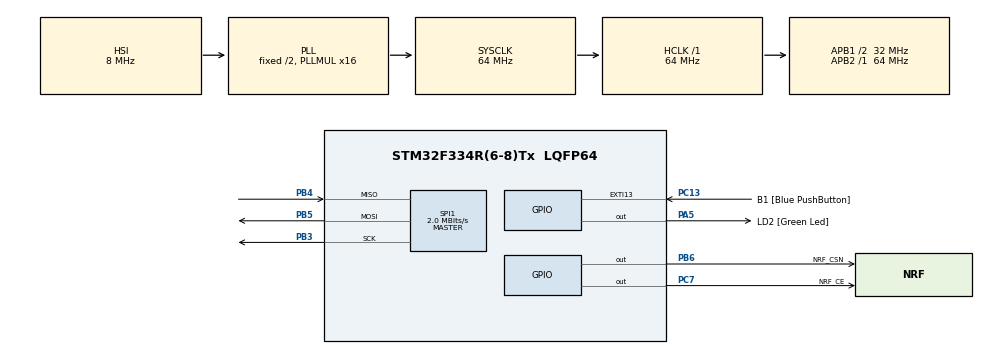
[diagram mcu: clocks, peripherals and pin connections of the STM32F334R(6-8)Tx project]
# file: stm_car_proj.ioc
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Mcu.Family=STM32F3
Mcu.Name=STM32F334R(6-8)Tx
Mcu.Package=LQFP64
NVIC.PriorityGroup=NVIC_PRIORITYGROUP_0
PA13.GPIO_Label=TMS
PA13.Mode=Serial_Wire
PA13.Signal=SYS_JTMS-SWDIO
PA14.GPIO_Label=TCK
PA14.Mode=Serial_Wire
PA14.Signal=SYS_JTCK-SWCLK
PA2.GPIO_Label=USART_TX
PA2.Signal=USART2_TX
PA3.GPIO_Label=USART_RX
PA3.Signal=USART2_RX
PA5.GPIO_Label=LD2 [Green Led]
PA5.Signal=GPIO_Output
PB3.Mode=Full_Duplex_Master
PB3.Signal=SPI1_SCK
PB4.Mode=Full_Duplex_Master
PB4.Signal=SPI1_MISO
PB5.Mode=Full_Duplex_Master
PB5.Signal=SPI1_MOSI
PB6.GPIO_Label=NRF_CSN
PB6.GPIO_Speed=GPIO_SPEED_FREQ_HIGH
PB6.PinState=GPIO_PIN_SET
PB6.Signal=GPIO_Output
PC13.GPIO_Label=B1 [Blue PushButton]
PC13.GPIO_ModeDefaultEXTI=GPIO_MODE_IT_FALLING
PC13.Signal=GPXTI13
PC14\ /\ OSC32_IN.Mode=LSE-External-Oscillator
PC14\ /\ OSC32_IN.Signal=RCC_OSC32_IN
PC15\ /\ OSC32_OUT.GPIO_Label=RCC_OSC32_OUT
PC15\ /\ OSC32_OUT.Mode=LSE-External-Oscillator
PC15\ /\ OSC32_OUT.Signal=RCC_OSC32_OUT
PC7.GPIO_Label=NRF_CE
PC7.GPIO_Speed=GPIO_SPEED_FREQ_HIGH
PC7.PinState=GPIO_PIN_RESET
PC7.Signal=GPIO_Output
PF0\ /\ OSC_IN.Mode=HSE-External-Clock-Source
PF0\ /\ OSC_IN.Signal=RCC_OSC_IN
PF1\ /\ OSC_OUT.Signal=RCC_OSC_OUT
ProjectManager.HeapSize=0x200
ProjectManager.StackSize=0x400
ProjectManager.TargetToolchain=STM32CubeIDE
RCC.AHBFreq_Value=64000000
RCC.APB1CLKDivider=RCC_HCLK_DIV2
RCC.APB1Freq_Value=32000000
RCC.APB1TimFreq_Value=64000000
RCC.APB2Freq_Value=64000000
RCC.APB2TimFreq_Value=64000000
RCC.CortexFreq_Value=64000000
RCC.FLatency-AdvancedSettings=FLASH_LATENCY_2
RCC.HCLKFreq_Value=64000000
RCC.HSE_VALUE=8000000
RCC.HSI_VALUE=8000000
RCC.PLLMUL=RCC_PLL_MUL16
RCC.SYSCLKFreq_VALUE=64000000
RCC.SYSCLKSourceVirtual=RCC_SYSCLKSOURCE_PLLCLK
SPI1.BaudRatePrescaler=SPI_BAUDRATEPRESCALER_32
SPI1.CalculateBaudRate=2.0 MBits/s
SPI1.DataSize=SPI_DATASIZE_8BIT
SPI1.Direction=SPI_DIRECTION_2LINES
SPI1.Mode=SPI_MODE_MASTER
SPI1.NSSPMode=SPI_NSS_PULSE_DISABLE
SPI1.VirtualType=VM_MASTER
board=NUCLEO-F334R8

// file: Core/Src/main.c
/* USER CODE BEGIN Header */
/**
  ******************************************************************************
  * @file           : main.c
  * @brief          : Main program body
  ******************************************************************************
  * @attention
  *
  * Copyright (c) 2026 STMicroelectronics.
  * All rights reserved.
  *
  * This software is licensed under terms that can be found in the LICENSE file
  * in the root directory of this software component.
  * If no LICENSE file comes with this software, it is provided AS-IS.
  *
  ******************************************************************************
  */
/* USER CODE END Header */
#include "main.h"

/* USER CODE BEGIN Includes */
#include "nrf24l01.h"
/* USER CODE END Includes */

/* USER CODE BEGIN PD */
/* Must match the Arduino sketch (RF24): openWritingPipe("JOY01"), setChannel(76) */
#define RADIO_ADDR      ((const uint8_t *)"JOY01")
#define RADIO_CHANNEL   76
#define EXPECTED_BYTE   0x45    /* first payload byte that turns LD2 on */
/* USER CODE END PD */

SPI_HandleTypeDef hspi1;

/* USER CODE BEGIN PV */
/* Globals so they can be watched in CubeIDE Live Expressions while debugging */
nrf24_status_t init_status;
uint32_t       rx_count;
uint8_t        last_buf[32];
/* USER CODE END PV */

void SystemClock_Config(void);
static void MX_GPIO_Init(void);
static void MX_SPI1_Init(void);

int main(void)
{

  /* MCU Configuration--------------------------------------------------------*/

  /* Reset of all peripherals, Initializes the Flash interface and the Systick. */
  HAL_Init();

  /* Configure the system clock */
  SystemClock_Config();

  /* Initialize all configured peripherals */
  MX_GPIO_Init();
  MX_SPI1_Init();
  /* USER CODE BEGIN 2 */
  /* Defaults match RF24 radio.begin(); override what the sketch overrides. */
  nrf24_config_t cfg = NRF24_CONFIG_RF24_DEFAULTS;
  cfg.channel   = RADIO_CHANNEL;
  cfg.data_rate = NRF24_250KBPS;
  cfg.pa_level  = NRF24_PA_LOW;

  init_status = nrf24_init(&cfg);
  if (init_status != NRF24_OK)
  {
    /* Radio not responding (wiring/power) or not a '+' chip: fast blink forever */
    while (1)
    {
      HAL_GPIO_TogglePin(LD2_GPIO_Port, LD2_Pin);
      HAL_Delay(100);
    }
  }

  nrf24_open_reading_pipe(1, RADIO_ADDR);
  nrf24_start_listening();
  /* USER CODE END 2 */

  /* Infinite loop */
  while (1)
  {

    /* USER CODE BEGIN 3 */
    if (nrf24_available(NULL))
    {
      nrf24_read(last_buf, sizeof last_buf);
      rx_count++;
      HAL_GPIO_WritePin(LD2_GPIO_Port, LD2_Pin,
                        (last_buf[0] == EXPECTED_BYTE) ? GPIO_PIN_SET : GPIO_PIN_RESET);
    }
  }
  /* USER CODE END 3 */
}

void SystemClock_Config(void)
{
  RCC_OscInitTypeDef RCC_OscInitStruct = {0};
  RCC_ClkInitTypeDef RCC_ClkInitStruct = {0};

  /** Initializes the RCC Oscillators according to the specified parameters
  * in the RCC_OscInitTypeDef structure.
  */
  RCC_OscInitStruct.OscillatorType = RCC_OSCILLATORTYPE_HSI;
  RCC_OscInitStruct.HSIState = RCC_HSI_ON;
  RCC_OscInitStruct.HSICalibrationValue = RCC_HSICALIBRATION_DEFAULT;
  RCC_OscInitStruct.PLL.PLLState = RCC_PLL_ON;
  RCC_OscInitStruct.PLL.PLLSource = RCC_PLLSOURCE_HSI;
  RCC_OscInitStruct.PLL.PLLMUL = RCC_PLL_MUL16;
  if (HAL_RCC_OscConfig(&RCC_OscInitStruct) != HAL_OK)
  {
    Error_Handler();
  }

  /** Initializes the CPU, AHB and APB buses clocks
  */
  RCC_ClkInitStruct.ClockType = RCC_CLOCKTYPE_HCLK|RCC_CLOCKTYPE_SYSCLK
                              |RCC_CLOCKTYPE_PCLK1|RCC_CLOCKTYPE_PCLK2;
  RCC_ClkInitStruct.SYSCLKSource = RCC_SYSCLKSOURCE_PLLCLK;
  RCC_ClkInitStruct.AHBCLKDivider = RCC_SYSCLK_DIV1;
  RCC_ClkInitStruct.APB1CLKDivider = RCC_HCLK_DIV2;
  RCC_ClkInitStruct.APB2CLKDivider = RCC_HCLK_DIV1;

  if (HAL_RCC_ClockConfig(&RCC_ClkInitStruct, FLASH_LATENCY_2) != HAL_OK)
  {
    Error_Handler();
  }
}

static void MX_SPI1_Init(void)
{

  /* SPI1 parameter configuration*/
  hspi1.Instance = SPI1;
  hspi1.Init.Mode = SPI_MODE_MASTER;
  hspi1.Init.Direction = SPI_DIRECTION_2LINES;
  hspi1.Init.DataSize = SPI_DATASIZE_8BIT;
  hspi1.Init.CLKPolarity = SPI_POLARITY_LOW;
  hspi1.Init.CLKPhase = SPI_PHASE_1EDGE;
  hspi1.Init.NSS = SPI_NSS_SOFT;
  hspi1.Init.BaudRatePrescaler = SPI_BAUDRATEPRESCALER_32;
  hspi1.Init.FirstBit = SPI_FIRSTBIT_MSB;
  hspi1.Init.TIMode = SPI_TIMODE_DISABLE;
  hspi1.Init.CRCCalculation = SPI_CRCCALCULATION_DISABLE;
  hspi1.Init.CRCPolynomial = 7;
  hspi1.Init.CRCLength = SPI_CRC_LENGTH_DATASIZE;
  hspi1.Init.NSSPMode = SPI_NSS_PULSE_DISABLE;
  if (HAL_SPI_Init(&hspi1) != HAL_OK)
  {
    Error_Handler();
  }

}

static void MX_GPIO_Init(void)
{
  GPIO_InitTypeDef GPIO_InitStruct = {0};

  /* GPIO Ports Clock Enable */
  __HAL_RCC_GPIOC_CLK_ENABLE();
  __HAL_RCC_GPIOF_CLK_ENABLE();
  __HAL_RCC_GPIOA_CLK_ENABLE();
  __HAL_RCC_GPIOB_CLK_ENABLE();

  /*Configure GPIO pin Output Level */
  HAL_GPIO_WritePin(LD2_GPIO_Port, LD2_Pin, GPIO_PIN_RESET);

  /*Configure GPIO pin Output Level */
  HAL_GPIO_WritePin(NRF_CE_GPIO_Port, NRF_CE_Pin, GPIO_PIN_RESET);

  /*Configure GPIO pin Output Level */
  HAL_GPIO_WritePin(NRF_CSN_GPIO_Port, NRF_CSN_Pin, GPIO_PIN_SET);

  /*Configure GPIO pin : B1_Pin */
  GPIO_InitStruct.Pin = B1_Pin;
  GPIO_InitStruct.Mode = GPIO_MODE_IT_FALLING;
  GPIO_InitStruct.Pull = GPIO_NOPULL;
  HAL_GPIO_Init(B1_GPIO_Port, &GPIO_InitStruct);

  /*Configure GPIO pins : USART_TX_Pin USART_RX_Pin */
  GPIO_InitStruct.Pin = USART_TX_Pin|USART_RX_Pin;
  GPIO_InitStruct.Mode = GPIO_MODE_AF_PP;
  GPIO_InitStruct.Pull = GPIO_NOPULL;
  GPIO_InitStruct.Speed = GPIO_SPEED_FREQ_HIGH;
  GPIO_InitStruct.Alternate = GPIO_AF7_USART2;
  HAL_GPIO_Init(GPIOA, &GPIO_InitStruct);

  /*Configure GPIO pin : LD2_Pin */
  GPIO_InitStruct.Pin = LD2_Pin;
  GPIO_InitStruct.Mode = GPIO_MODE_OUTPUT_PP;
  GPIO_InitStruct.Pull = GPIO_NOPULL;
  GPIO_InitStruct.Speed = GPIO_SPEED_FREQ_LOW;
  HAL_GPIO_Init(LD2_GPIO_Port, &GPIO_InitStruct);

  /*Configure GPIO pin : NRF_CE_Pin */
  GPIO_InitStruct.Pin = NRF_CE_Pin;
  GPIO_InitStruct.Mode = GPIO_MODE_OUTPUT_PP;
  GPIO_InitStruct.Pull = GPIO_NOPULL;
  GPIO_InitStruct.Speed = GPIO_SPEED_FREQ_HIGH;
  HAL_GPIO_Init(NRF_CE_GPIO_Port, &GPIO_InitStruct);

  /*Configure GPIO pin : NRF_CSN_Pin */
  GPIO_InitStruct.Pin = NRF_CSN_Pin;
  GPIO_InitStruct.Mode = GPIO_MODE_OUTPUT_PP;
  GPIO_InitStruct.Pull = GPIO_NOPULL;
  GPIO_InitStruct.Speed = GPIO_SPEED_FREQ_HIGH;
  HAL_GPIO_Init(NRF_CSN_GPIO_Port, &GPIO_InitStruct);

}

void Error_Handler(void)
{
  __disable_irq();
  while (1)
  {
  }
}
